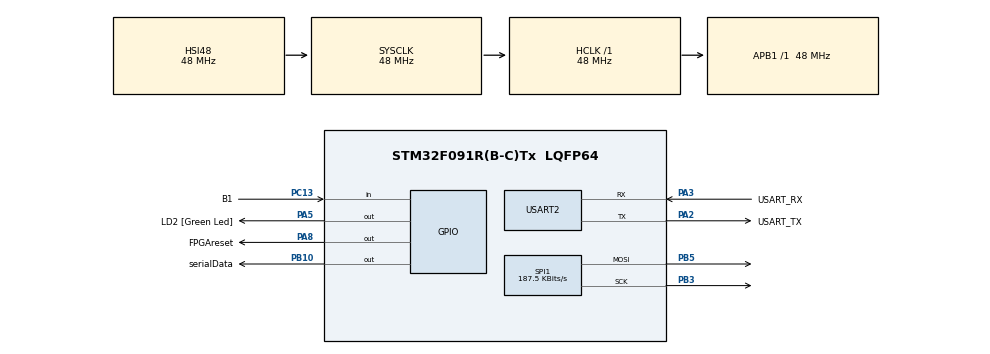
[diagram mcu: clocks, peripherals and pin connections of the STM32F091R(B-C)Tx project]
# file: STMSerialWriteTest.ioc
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FREERTOS.Tasks01=SerialSend,24,526,startSend,Default,NULL,Dynamic,NULL,NULL
FREERTOS.configUSE_NEWLIB_REENTRANT=1
Mcu.Family=STM32F0
Mcu.Name=STM32F091R(B-C)Tx
Mcu.Package=LQFP64
PA13.GPIO_Label=TMS
PA13.Mode=Serial_Wire
PA13.Signal=SYS_SWDIO
PA14.GPIO_Label=TCK
PA14.Mode=Serial_Wire
PA14.Signal=SYS_SWCLK
PA2.GPIO_Label=USART_TX
PA2.GPIO_Mode=GPIO_MODE_AF_PP
PA2.GPIO_PuPd=GPIO_NOPULL
PA2.GPIO_Speed=GPIO_SPEED_FREQ_LOW
PA2.Mode=Asynchronous
PA2.Signal=USART2_TX
PA3.GPIO_Label=USART_RX
PA3.GPIO_Mode=GPIO_MODE_AF_PP
PA3.GPIO_PuPd=GPIO_NOPULL
PA3.GPIO_Speed=GPIO_SPEED_FREQ_LOW
PA3.Mode=Asynchronous
PA3.Signal=USART2_RX
PA5.GPIO_Label=LD2 [Green Led]
PA5.GPIO_Mode=GPIO_MODE_OUTPUT_PP
PA5.GPIO_PuPd=GPIO_NOPULL
PA5.GPIO_Speed=GPIO_SPEED_FREQ_LOW
PA5.Signal=GPIO_Output
PA8.GPIO_Label=FPGAreset
PA8.PinState=GPIO_PIN_RESET
PA8.Signal=GPIO_Output
PB10.GPIO_Label=serialData
PB10.GPIO_Speed=GPIO_SPEED_FREQ_HIGH
PB10.Signal=GPIO_Output
PB3.Mode=TX_Only_Simplex_Unidirect_Master
PB3.Signal=SPI1_SCK
PB5.Mode=TX_Only_Simplex_Unidirect_Master
PB5.Signal=SPI1_MOSI
PC13.GPIO_Label=B1 
PC13.GPIO_PuPd=GPIO_PULLUP
PC13.Signal=GPIO_Input
PC14OSC32_IN.Mode=LSE-External-Oscillator
PC14OSC32_IN.Signal=RCC_OSC32_IN
PC15OSC32_OUT.Mode=LSE-External-Oscillator
PC15OSC32_OUT.Signal=RCC_OSC32_OUT
PF0-OSC_IN.Mode=HSE-External-Clock-Source
PF0-OSC_IN.Signal=RCC_OSC_IN
PF1-OSC_OUT.Signal=RCC_OSC_OUT
ProjectManager.HeapSize=0x200
ProjectManager.StackSize=0x400
ProjectManager.TargetToolchain=STM32CubeIDE
RCC.AHBFreq_Value=48000000
RCC.APB1Freq_Value=48000000
RCC.APB1TimFreq_Value=48000000
RCC.FLatency-AdvancedSettings=FLASH_LATENCY_1
RCC.HCLKFreq_Value=48000000
RCC.PLLMUL=RCC_PLL_MUL6
RCC.PLLSourceVirtual=RCC_PLLSOURCE_HSI48
RCC.PREFETCH_ENABLE-AdvancedSettings=1
RCC.SYSCLKFreq_VALUE=48000000
RCC.SYSCLKSource=RCC_SYSCLKSOURCE_HSI48
SPI1.BaudRatePrescaler=SPI_BAUDRATEPRESCALER_256
SPI1.CalculateBaudRate=187.5 KBits/s
SPI1.DataSize=SPI_DATASIZE_8BIT
SPI1.Direction=SPI_DIRECTION_2LINES
SPI1.FirstBit=SPI_FIRSTBIT_LSB
SPI1.Mode=SPI_MODE_MASTER
SPI1.NSSPMode=SPI_NSS_PULSE_DISABLE
SPI1.VirtualType=VM_MASTER
USART2.VirtualMode=VM_ASYNC
USART2.VirtualMode-Asynchronous=VM_ASYNC
VP_FREERTOS_VS_CMSIS_V2.Mode=CMSIS_V2
board=NUCLEO-F091RC

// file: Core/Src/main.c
/* USER CODE BEGIN Header */
/**
 ******************************************************************************
 * @file           : main.c
 * @brief          : Main program body
 ******************************************************************************
 * @attention
 *
 * Copyright (c) 2023 STMicroelectronics.
 * All rights reserved.
 *
 * This software is licensed under terms that can be found in the LICENSE file
 * in the root directory of this software component.
 * If no LICENSE file comes with this software, it is provided AS-IS.
 *
 ******************************************************************************
 */
/* USER CODE END Header */
#include "main.h"
#include "cmsis_os.h"

SPI_HandleTypeDef hspi1;

UART_HandleTypeDef huart2;

/* Definitions for SerialSend */
osThreadId_t SerialSendHandle;
const osThreadAttr_t SerialSend_attributes = {
  .name = "SerialSend",
  .stack_size = 526 * 4,
  .priority = (osPriority_t) osPriorityNormal,
};

void SystemClock_Config(void);
static void MX_GPIO_Init(void);
static void MX_USART2_UART_Init(void);
static void MX_SPI1_Init(void);
void startSend(void *argument);

int main(void)
{

  /* MCU Configuration--------------------------------------------------------*/

  /* Reset of all peripherals, Initializes the Flash interface and the Systick. */
  HAL_Init();

  /* Configure the system clock */
  SystemClock_Config();

  /* Initialize all configured peripherals */
  MX_GPIO_Init();
  MX_USART2_UART_Init();
  MX_SPI1_Init();

  /* Init scheduler */
  osKernelInitialize();

  /* Create the thread(s) */
  /* creation of SerialSend */
  SerialSendHandle = osThreadNew(startSend, NULL, &SerialSend_attributes);

  /* Start scheduler */
  osKernelStart();

  /* We should never get here as control is now taken by the scheduler */
  /* Infinite loop */
	while (1) {

	}
}

void SystemClock_Config(void)
{
  RCC_OscInitTypeDef RCC_OscInitStruct = {0};
  RCC_ClkInitTypeDef RCC_ClkInitStruct = {0};
  RCC_PeriphCLKInitTypeDef PeriphClkInit = {0};

  /** Initializes the RCC Oscillators according to the specified parameters
  * in the RCC_OscInitTypeDef structure.
  */
  RCC_OscInitStruct.OscillatorType = RCC_OSCILLATORTYPE_HSI48;
  RCC_OscInitStruct.HSI48State = RCC_HSI48_ON;
  RCC_OscInitStruct.PLL.PLLState = RCC_PLL_NONE;
  if (HAL_RCC_OscConfig(&RCC_OscInitStruct) != HAL_OK)
  {
    Error_Handler();
  }

  /** Initializes the CPU, AHB and APB buses clocks
  */
  RCC_ClkInitStruct.ClockType = RCC_CLOCKTYPE_HCLK|RCC_CLOCKTYPE_SYSCLK
                              |RCC_CLOCKTYPE_PCLK1;
  RCC_ClkInitStruct.SYSCLKSource = RCC_SYSCLKSOURCE_HSI48;
  RCC_ClkInitStruct.AHBCLKDivider = RCC_SYSCLK_DIV1;
  RCC_ClkInitStruct.APB1CLKDivider = RCC_HCLK_DIV1;

  if (HAL_RCC_ClockConfig(&RCC_ClkInitStruct, FLASH_LATENCY_1) != HAL_OK)
  {
    Error_Handler();
  }
  PeriphClkInit.PeriphClockSelection = RCC_PERIPHCLK_USART2;
  PeriphClkInit.Usart2ClockSelection = RCC_USART2CLKSOURCE_PCLK1;
  if (HAL_RCCEx_PeriphCLKConfig(&PeriphClkInit) != HAL_OK)
  {
    Error_Handler();
  }
}

static void MX_SPI1_Init(void)
{

  /* SPI1 parameter configuration*/
  hspi1.Instance = SPI1;
  hspi1.Init.Mode = SPI_MODE_MASTER;
  hspi1.Init.Direction = SPI_DIRECTION_2LINES;
  hspi1.Init.DataSize = SPI_DATASIZE_8BIT;
  hspi1.Init.CLKPolarity = SPI_POLARITY_LOW;
  hspi1.Init.CLKPhase = SPI_PHASE_1EDGE;
  hspi1.Init.NSS = SPI_NSS_SOFT;
  hspi1.Init.BaudRatePrescaler = SPI_BAUDRATEPRESCALER_256;
  hspi1.Init.FirstBit = SPI_FIRSTBIT_LSB;
  hspi1.Init.TIMode = SPI_TIMODE_DISABLE;
  hspi1.Init.CRCCalculation = SPI_CRCCALCULATION_DISABLE;
  hspi1.Init.CRCPolynomial = 7;
  hspi1.Init.CRCLength = SPI_CRC_LENGTH_DATASIZE;
  hspi1.Init.NSSPMode = SPI_NSS_PULSE_DISABLE;
  if (HAL_SPI_Init(&hspi1) != HAL_OK)
  {
    Error_Handler();
  }

}

static void MX_USART2_UART_Init(void)
{

  huart2.Instance = USART2;
  huart2.Init.BaudRate = 115200;
  huart2.Init.WordLength = UART_WORDLENGTH_8B;
  huart2.Init.StopBits = UART_STOPBITS_1;
  huart2.Init.Parity = UART_PARITY_NONE;
  huart2.Init.Mode = UART_MODE_TX_RX;
  huart2.Init.HwFlowCtl = UART_HWCONTROL_NONE;
  huart2.Init.OverSampling = UART_OVERSAMPLING_16;
  huart2.Init.OneBitSampling = UART_ONE_BIT_SAMPLE_DISABLE;
  huart2.AdvancedInit.AdvFeatureInit = UART_ADVFEATURE_NO_INIT;
  if (HAL_UART_Init(&huart2) != HAL_OK)
  {
    Error_Handler();
  }

}

static void MX_GPIO_Init(void)
{
  GPIO_InitTypeDef GPIO_InitStruct = {0};

  /* GPIO Ports Clock Enable */
  __HAL_RCC_GPIOC_CLK_ENABLE();
  __HAL_RCC_GPIOF_CLK_ENABLE();
  __HAL_RCC_GPIOA_CLK_ENABLE();
  __HAL_RCC_GPIOB_CLK_ENABLE();

  /*Configure GPIO pin Output Level */
  HAL_GPIO_WritePin(GPIOA, LD2_Pin|FPGAreset_Pin, GPIO_PIN_RESET);

  /*Configure GPIO pin Output Level */
  HAL_GPIO_WritePin(serialData_GPIO_Port, serialData_Pin, GPIO_PIN_RESET);

  /*Configure GPIO pin : B1_Pin */
  GPIO_InitStruct.Pin = B1_Pin;
  GPIO_InitStruct.Mode = GPIO_MODE_INPUT;
  GPIO_InitStruct.Pull = GPIO_PULLUP;
  HAL_GPIO_Init(B1_GPIO_Port, &GPIO_InitStruct);

  /*Configure GPIO pins : LD2_Pin FPGAreset_Pin */
  GPIO_InitStruct.Pin = LD2_Pin|FPGAreset_Pin;
  GPIO_InitStruct.Mode = GPIO_MODE_OUTPUT_PP;
  GPIO_InitStruct.Pull = GPIO_NOPULL;
  GPIO_InitStruct.Speed = GPIO_SPEED_FREQ_LOW;
  HAL_GPIO_Init(GPIOA, &GPIO_InitStruct);

  /*Configure GPIO pin : serialData_Pin */
  GPIO_InitStruct.Pin = serialData_Pin;
  GPIO_InitStruct.Mode = GPIO_MODE_OUTPUT_PP;
  GPIO_InitStruct.Pull = GPIO_NOPULL;
  GPIO_InitStruct.Speed = GPIO_SPEED_FREQ_HIGH;
  HAL_GPIO_Init(serialData_GPIO_Port, &GPIO_InitStruct);

}

/* USER CODE BEGIN 4 */
void serialClockWrite(_Bool state) {
	if (state == 1) {
		HAL_GPIO_WritePin(GPIOB, GPIO_PIN_4, 1);
	} else if (state == 0) {
		HAL_GPIO_WritePin(GPIOB, GPIO_PIN_4, 0);
	}
}

void serialDataWrite(_Bool state) {
	if (state == 1) {
		HAL_GPIO_WritePin(GPIOB, GPIO_PIN_10, 1);
	} else if (state == 0) {
		HAL_GPIO_WritePin(GPIOB, GPIO_PIN_10, 0);
	}
}

void fpgaReset() {
	HAL_GPIO_WritePin(GPIOA, GPIO_PIN_8, 1);
	HAL_Delay(100);
	HAL_GPIO_WritePin(GPIOA, GPIO_PIN_8, 0);
	HAL_Delay(100);

//	/*for (int i = 0; i < (1239 * 2) + 1; i++) {
//		serialDataWrite(1);
//		HAL_Delay(1);
//		serialClockWrite(1);
//		HAL_Delay(1);
//		serialDataWrite(1);
//		serialClockWrite(0);
//
//	}*/

	//HAL_Delay(1000000);
}

/* USER CODE END 4 */

void startSend(void *argument)
{
  /* USER CODE BEGIN 5 */
	fpgaReset();
	/* Infinite loop */
	for (;;) {
		osDelay(1000);
		uint8_t buffer = 0b11101010;
		//buffer[0] = 0b10101010;
		//buffer[1] = 0b11101010;
		while (1) {
			HAL_SPI_Transmit(&hspi1, &buffer, 1, 100);
			HAL_Delay(100);
		}

		/*const int dataLength = 1200;
		 _Bool dataArray[1239] = {0};

		 for (int i = 0; i < 1239; i++){
		 dataArray[i] = i %2;
		 }
		 static int counter = 0;

		 int state = HAL_GPIO_ReadPin(GPIOC, GPIO_PIN_13);

		 if (HAL_GPIO_ReadPin(GPIOC, GPIO_PIN_13) == 0) {
		 counter++;

		 }

		 if (counter == 16)
		 counter = 0;
		 int before = xTaskGetTickCount();
		 for (int j = 0; j < 30; j++) {
		 for (int i = 0; i < 1239; i++) {

		 serialDataWrite(dataArray[i]);

		 serialClockWrite(1);

		 serialDataWrite(0);
		 serialClockWrite(0);

		 }
		 serialDataWrite(0);
		 serialClockWrite(1);
		 serialClockWrite(0);
		 }
		 int after = xTaskGetTickCount();

		 int elapsedMs = after - before;*/
		/*serialDataWrite(1);
		 while(1){
		 serialClockWrite(1);
		 serialClockWrite(0);
		 }*/

		/*serialDataWrite(1);
		 serialClockWrite(1);

		 serialClockWrite(0);
		 serialDataWrite(0);
		 serialClockWrite(1);

		 serialClockWrite(0);*/

	}
  /* USER CODE END 5 */
}

void Error_Handler(void)
{
	__disable_irq();
	while (1) {
	}
}
